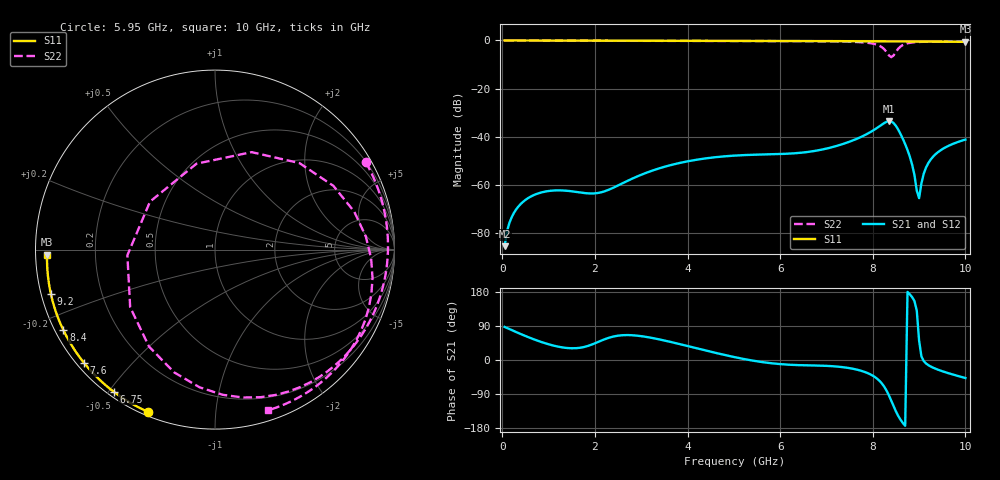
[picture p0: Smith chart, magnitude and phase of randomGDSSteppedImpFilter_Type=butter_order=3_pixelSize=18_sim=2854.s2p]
! freq	dB(S11)	phase(S11)	dB(S12)	phase(S12)
!  dB(S21)	phase(S21)	dB(S22)	phase(S22)
!S-par simulation data
#  GHz  S  DB  R 50
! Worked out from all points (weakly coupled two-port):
!   200 points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, 50 MHz to 10 GHz, reference 50 ohm
!   highest |S21| = -33.51 dB at 8.35 GHz (marker M1); lowest = -85.4 dB at 50 MHz (marker M2)
!   lowest |S11| = -0.6 dB at 10 GHz (marker M3), VSWR 30.38, Z = 1.65 - j0.751 ohm
!   |S11| at or under -10 dB: nowhere
!   |S22| runs from -6.9 to 0.0 dB; largest |S21 - S12| = 0
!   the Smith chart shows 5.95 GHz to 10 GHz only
!   S11 on the Smith chart (normalised r, x): 5.95 GHz: 0.02, -0.67; 6.75 GHz: 0.02, -0.51; 7.6 GHz: 0.02, -0.37; 8.4 GHz: 0.02, -0.25; 9.2 GHz: 0.03, -0.13; 10 GHz: 0.03, -0.02
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0.05  -0.00 -1.1  -85.45 87.3  -85.45 87.3  -0.00 -4.5
0.35  -0.01 -7.3  -68.93 71.0  -68.93 71.0  -0.05 -31.2
0.85  -0.02 -17.7  -63.10 47.2  -63.10 47.2  -0.09 -72.8
1.75  -0.05 -36.0  -63.32 33.9  -63.32 33.9  -0.13 -135.0
2.5  -0.07 -50.8  -60.23 64.2  -60.23 64.2  -0.15 -176.7
3.4  -0.09 -67.9  -53.05 54.1  -53.05 54.1  -0.17 139.7
4.25  -0.12 -83.4  -49.38 29.3  -49.38 29.3  -0.20 101.6
5.05  -0.15 -97.4  -47.79 6.7  -47.79 6.7  -0.22 67.3
5.95  -0.19 -112.5  -47.20 -10.3  -47.20 -10.3  -0.26 30.0
6.7  -0.24 -124.7  -46.03 -14.4  -46.03 -14.4  -0.32 -0.4
6.75  -0.25 -125.5  -45.88 -14.5  -45.88 -14.5  -0.33 -2.4
7.6  -0.31 -139.2  -41.30 -23.8  -41.30 -23.8  -0.60 -41.3
8.1  -0.36 -147.2  -36.24 -49.9  -36.24 -49.9  -1.83 -86.9
8.25  -0.37 -149.6  -34.28 -70.9  -34.28 -70.9  -3.69 -124.2
8.35  -0.38 -151.2  -33.51 -93.6  -33.51 -93.6  -6.21 -176.3
8.4  -0.39 -152.0  -33.66 -107.6  -33.66 -107.6  -6.94 143.6
8.5  -0.40 -153.6  -35.49 -135.6  -35.49 -135.6  -4.73 69.4
8.65  -0.41 -156.0  -40.90 -166.3  -40.90 -166.3  -1.89 15.2
8.85  -0.43 -159.2  -51.58 166.0  -51.58 166.0  -0.86 -15.9
9  -0.45 -161.7  -65.51 51.5  -65.51 51.5  -0.63 -29.1
9.2  -0.47 -164.9  -50.92 -13.6  -50.92 -13.6  -0.51 -41.4
10  -0.57 -178.3  -41.18 -47.5  -41.18 -47.5  -0.51 -71.9
